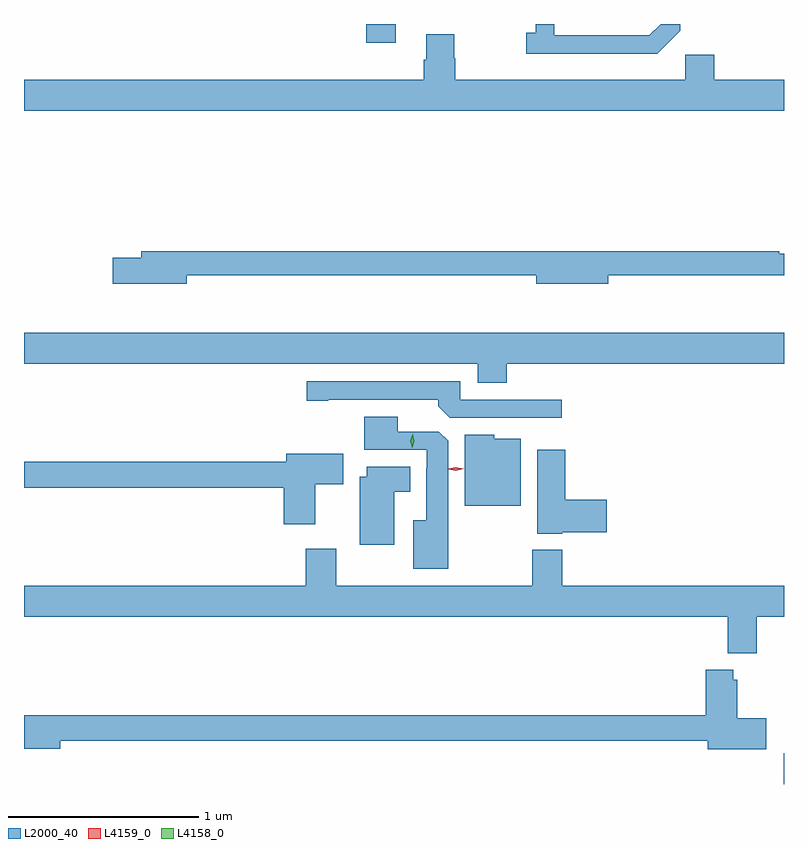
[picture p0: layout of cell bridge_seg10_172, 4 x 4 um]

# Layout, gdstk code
import gdstk
lib = gdstk.Library(unit=1e-6, precision=1e-09)
def R(c, l, rs):  # rectangles x0, y0, x1, y1
    for r in rs: c.add(gdstk.rectangle(r[:2], r[2:], *l))
def P(c, l, *ps):  # polygons
    for p in ps: c.add(gdstk.Polygon(p, *l))
L2000_40 = (2000, 40)
L4158_0 = (4158, 0)
L4159_0 = (4159, 0)

bridge_seg10_172 = lib.new_cell('bridge_seg10_172')
R(bridge_seg10_172, L2000_40, [(212.156,1286.117,212.158,1286.28), (209.959,1290.018,210.115,1290.117)])
P(bridge_seg10_172, L2000_40, [(211.611,1290.081),(211.611,1290.117),(211.509,1290.117),(211.449,1290.057),(210.949,1290.057),(210.949,1290.117),(210.852,1290.117),(210.852,1290.07),(210.801,1290.07),(210.801,1289.96),(211.49,1289.96)],
  [(212.158,1289.824),(211.79,1289.824),(211.79,1289.956),(211.638,1289.956),(211.638,1289.824),(210.428,1289.824),(210.428,1289.937),(210.423,1289.937),(210.423,1290.062),(210.275,1290.062),(210.275,1289.93),(210.263,1289.93),(210.263,1289.824),(208.158,1289.824),(208.158,1289.66),(212.158,1289.66)],
  [(209.014,1288.794),(210.854,1288.794),(210.854,1288.751),(211.234,1288.751),(211.234,1288.794),(212.158,1288.794),(212.158,1288.907),(212.132,1288.907),(212.132,1288.922),(208.775,1288.922),(208.775,1288.886),(208.626,1288.886),(208.626,1288.751),(209.014,1288.751)],
  [(210.698,1288.328),(212.158,1288.328),(212.158,1288.492),(208.158,1288.492),(208.158,1288.328),(210.545,1288.328),(210.545,1288.229),(210.698,1288.229)],
  [(210.988,1288.14),(210.453,1288.14),(210.453,1288.236),(209.646,1288.236),(209.646,1288.135),(209.758,1288.135),(209.758,1288.14),(210.338,1288.14),(210.338,1288.106),(210.399,1288.044),(210.988,1288.044)],
  [(210.391,1287.923),(210.342,1287.972),(210.124,1287.972),(210.124,1288.051),(209.948,1288.051),(209.948,1287.876),(210.279,1287.876),(210.279,1287.779),(210.275,1287.779),(210.275,1287.505),(210.206,1287.505),(210.206,1287.251),(210.391,1287.251)],
  [(210.772,1287.934),(210.633,1287.934),(210.633,1287.955),(210.479,1287.955),(210.479,1287.581),(210.772,1287.581)],
  [(210.99,1287.443),(211.225,1287.443),(211.225,1287.614),(211.007,1287.614),(211.007,1287.877),(210.86,1287.877),(210.86,1287.434),(210.99,1287.434)],
  [(209.692,1287.694),(209.839,1287.694),(209.839,1287.856),(209.537,1287.856),(209.537,1287.812),(208.158,1287.812),(208.158,1287.676),(209.525,1287.676),(209.525,1287.483),(209.692,1287.483)],
  [(210.106,1287.656),(210.19,1287.656),(210.19,1287.787),(209.963,1287.787),(209.963,1287.733),(209.924,1287.733),(209.924,1287.377),(210.106,1287.377)],
  [(212.014,1286.996),(212.158,1286.996),(212.158,1287.16),(210.992,1287.16),(210.992,1287.349),(210.832,1287.349),(210.832,1287.16),(209.802,1287.16),(209.802,1287.355),(209.642,1287.355),(209.642,1287.16),(208.158,1287.16),(208.158,1286.996),(211.862,1286.996),(211.862,1286.804),(212.014,1286.804)],
  [(212.065,1286.463),(211.912,1286.463),(211.912,1286.665),(211.89,1286.665),(211.89,1286.719),(211.745,1286.719),(211.745,1286.48),(208.158,1286.48),(208.158,1286.302),(208.348,1286.302),(208.348,1286.344),(211.757,1286.344),(211.757,1286.3),(212.065,1286.3)])
P(bridge_seg10_172, L4158_0, [(210.201,1287.887),(210.201,1287.888),(210.192,1287.923),(210.204,1287.958),(210.204,1287.958),(210.204,1287.958),(210.212,1287.922),(210.201,1287.888)])
P(bridge_seg10_172, L4159_0, [(210.431,1287.765),(210.39,1287.774),(210.39,1287.775),(210.39,1287.775),(210.431,1287.785),(210.472,1287.775),(210.472,1287.775),(210.472,1287.775)])

lib.write_gds('bridge_seg10_172.gds')
